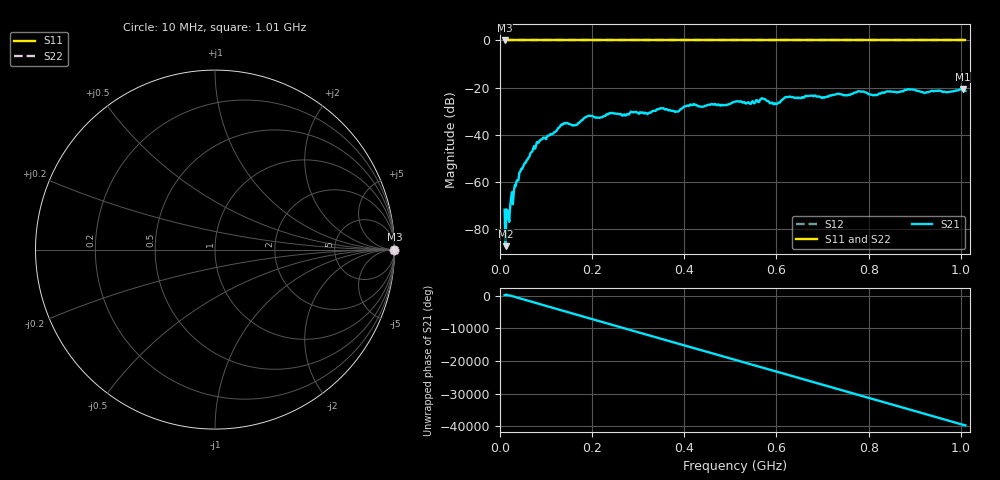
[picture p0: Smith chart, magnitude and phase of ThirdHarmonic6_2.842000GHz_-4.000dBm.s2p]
! 8/17/2025 7:38:20 AM
! C:\ANRITSUVNA\TEMP\TEMP.S2P
! CHANNEL.1
! TR.MEASUREMENT
! RAW.DATA
! RF.CORRECTION.OFF
! AVERAGING.OFF
! IF.BANDWIDTH: 5KHZ
! SWEEPTYPE:  FREQ.SWEEP(Linear)
! Reference Plane Port Info
! PORT:  PORT1  PORT2
! DISTANCE:  0  m  0  m
! TIME:  0  s  0  s
! PHASE.OFFSET:  0  deg.  0  deg.
! LOSS:  0  dB  0  dB
! REF.LOSS:  0  dB  0  dB
! REF.FREQ:  0  Hz  0  Hz
! Power Info
! POWER:  -20  dBm  -20  dBm
! EFF.POWER:  -20  dBm  -20  dBm
! SOURCE.ATTEN:  0  dB  0  dB
! TEST.ATTEN:  0  dB  0  dB
# GHZ S RI R 50.0
! FREQ.GHZ  S11RE  S11IM  S21RE  S21IM  S12RE  S12IM  S22RE  S22IM
!; PortSelection: Port_12
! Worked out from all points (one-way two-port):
!   501 points, 10 MHz to 1.01 GHz, reference 50 ohm
!   highest |S21| = -20.60 dB at 1.004 GHz (marker M1); lowest = -87.3 dB at 12 MHz (marker M2)
!   lowest |S11| = 0.0 dB at 10 MHz (marker M3)
!   |S11| at or under -10 dB: nowhere
!   |S22| runs from 0.0 to 0.0 dB; largest |S21 - S12| = 1.1
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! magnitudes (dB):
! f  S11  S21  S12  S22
! 10 MHz  0.0  -71.8  0.0  0.0
! 12 MHz  0.0  -87.3  0.0  0.0
! 16 MHz  0.0  -75.5  0.0  0.0
! 28 MHz  0.0  -69.5  0.0  0.0
! 46 MHz  0.0  -54.5  0.0  0.0
! 84 MHz  0.0  -43.3  0.0  0.0
! 136 MHz  0.0  -35.7  0.0  0.0
! 162 MHz  0.0  -36.0  0.0  0.0
! 178 MHz  0.0  -33.8  0.0  0.0
! 194 MHz  0.0  -31.9  0.0  0.0
! 322 MHz  0.0  -30.9  0.0  0.0
! 344 MHz  0.0  -29.2  0.0  0.0
! 384 MHz  0.0  -30.2  0.0  0.0
! 416 MHz  0.0  -27.5  0.0  0.0
! 510 MHz  0.0  -26.0  0.0  0.0
! 570 MHz  0.0  -24.6  0.0  0.0
! 598 MHz  0.0  -26.8  0.0  0.0
! 622 MHz  0.0  -24.1  0.0  0.0
! 678 MHz  0.0  -23.4  0.0  0.0
! 844 MHz  0.0  -21.7  0.0  0.0
! 1.004 GHz  0.0  -20.6  0.0  0.0
! 1.01 GHz  0.0  -21.4  0.0  0.0
